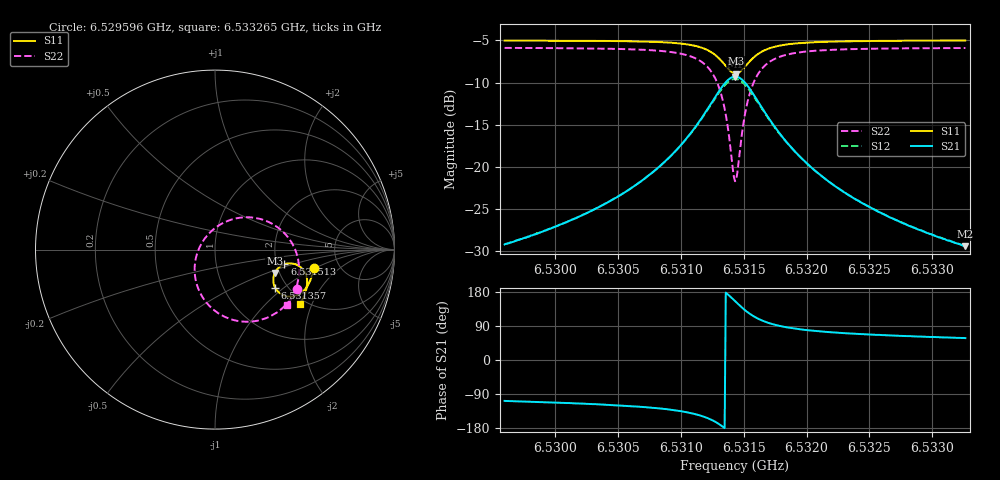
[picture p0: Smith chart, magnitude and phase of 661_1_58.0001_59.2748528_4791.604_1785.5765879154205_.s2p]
#  HZ  S  RI  R  50.00
! Rohde & Schwarz Vector Network Analyzer
! Rohde-Schwarz,ZNB20-2Port,1311601062101988,3.16
! Created: UTC 3/21/2024, 1:19:57 AM
! freq[Hz]  re:S11  im:S11  re:S21  im:S21  re:S12  im:S12  re:S22  im:S22
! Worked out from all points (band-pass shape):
!   401 points, 6.529596 GHz to 6.533265 GHz, reference 50 ohm
!   highest |S21| = -9.30 dB at 6.53143 GHz (marker M1); lowest = -29.4 dB at 6.533265 GHz (marker M2)
!   |S21| within 3 dB of the highest: 6.531248 GHz to 6.531615 GHz (367.2 kHz wide, 0.00562 % of centre)
!   lowest |S11| = -8.9 dB at 6.53144 GHz (marker M3), VSWR 2.11, Z = 94.4 - j28.2 ohm
!   |S11| at or under -10 dB: nowhere
!   |S22| runs from -21.7 to -5.9 dB; largest |S21 - S12| = 0.015
!   S11 on the Smith chart (normalised r, x): 6.529596 GHz: 3.25, -0.95; 6.531357 GHz: 1.73, -0.87; 6.531513 GHz: 2.20, -0.43; 6.533265 GHz: 1.84, -1.64
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6.5295961e9  0.5514 -0.1005  -0.0107 -0.033  -0.0115 -0.0328  0.4583 -0.2178
6.5302106e9  0.5378 -0.1527  -0.0218 -0.0467  -0.0229 -0.0462  0.4221 -0.2763
6.5305408e9  0.5251 -0.1845  -0.0354 -0.0602  -0.037 -0.0592  0.3866 -0.3161
6.5308251e9  0.5052 -0.2168  -0.061 -0.0791  -0.0633 -0.0771  0.3293 -0.3602
6.5310452e9  0.4729 -0.2465  -0.1093 -0.0991  -0.1123 -0.0951  0.2332 -0.3967
6.5312011e9  0.4219 -0.2622  -0.1889 -0.1007  -0.1905 -0.0922  0.0897 -0.3883
6.5312928e9  0.3711 -0.2494  -0.2665 -0.062  -0.2636 -0.0506  -0.0366 -0.308
6.5313295e9  0.3492 -0.2318  -0.2987 -0.0253  -0.2924 -0.0138  -0.0831 -0.2403
6.531357e9  0.3352 -0.2121  -0.3174 0.0126  -0.3084 0.0231  -0.1067 -0.1737
6.531412e9  0.3251 -0.1585  -0.3232 0.1089  -0.31 0.1142  -0.0974 -0.0147
6.5314303e9  0.3295 -0.1395  -0.3122 0.1419  -0.2987 0.1447  -0.0735 0.0368
6.5314395e9  0.3331 -0.1303  -0.3044 0.1575  -0.291 0.1591  -0.0578 0.0607
6.5314579e9  0.3431 -0.1135  -0.2845 0.1859  -0.2718 0.1853  -0.0201 0.1031
6.5315129e9  0.3864 -0.0819  -0.2046 0.2381  -0.1965 0.2335  0.1192 0.1744
6.5315404e9  0.4095 -0.077  -0.1641 0.2459  -0.1578 0.241  0.1878 0.1801
6.5315771e9  0.437 -0.0787  -0.1168 0.2426  -0.1128 0.2382  0.2663 0.1664
6.5316688e9  0.4818 -0.1024  -0.0407 0.2062  -0.0389 0.2039  0.389 0.089
6.5318064e9  0.5075 -0.1422  0.00394 0.1508  0.00515 0.1499  0.4542 -0.0208
6.5320448e9  0.5137 -0.1896  0.0215 0.0957  0.0225 0.0954  0.4683 -0.1325
6.5323108e9  0.5078 -0.2245  0.0232 0.066  0.0242 0.0655  0.4564 -0.1991
6.5326593e9  0.4957 -0.2584  0.0214 0.0455  0.0222 0.0454  0.4358 -0.2519
6.5332645e9  0.4714 -0.3055  0.0181 0.0287  0.0185 0.0283  0.4011 -0.3096
